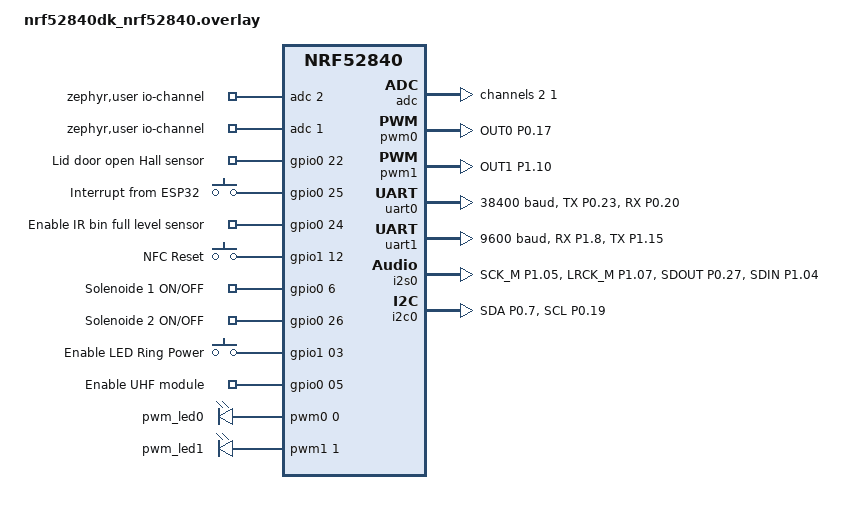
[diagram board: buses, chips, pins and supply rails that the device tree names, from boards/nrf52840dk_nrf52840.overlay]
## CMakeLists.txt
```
#
# Copyright (c) 2022 Nordic Semiconductor ASA
#
# SPDX-License-Identifier: LicenseRef-Nordic-5-Clause
#

cmake_minimum_required(VERSION 3.20.0)

include(../common/bootloader_version.cmake)

set(mcuboot_KCONFIG_ROOT ${CMAKE_CURRENT_SOURCE_DIR}/child_image/mcuboot/Kconfig.root)
set(hci_rpmsg_KCONFIG_ROOT ${CMAKE_CURRENT_SOURCE_DIR}/child_image/hci_rpmsg/Kconfig.root)

find_package(Zephyr REQUIRED HINTS $ENV{ZEPHYR_BASE})
project(sidewalk_template)

zephyr_include_directories(include)

target_sources(app PRIVATE
  src/main.c
  src/application_thread.c
  src/board_events.c
  src/sidewalk_callbacks.c
  src/u_adc_turn.c
  #src/u_spi_turn.c
  #src/u_app_timers.c
  #src/u_app_nfc.c
  src/u_app_turn.c
  src/u_buzzer_turn.c
  src/u_uart_turn.c
  src/u_led_turn.c
  src/u_i2c_turn.c
  src/u_esp32_turn.c
)
```

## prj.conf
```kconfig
#
# Copyright (c) 2022 Nordic Semiconductor ASA
#
# SPDX-License-Identifier: LicenseRef-Nordic-5-Clause
#

#Turn System
CONFIG_TURN_APP=y

#Turn UART
CONFIG_SERIAL=y
CONFIG_UART_ASYNC_API=y

# PWM for Servo
CONFIG_PWM=y

# ADC for Bin level and battery voltage
CONFIG_ADC=y

#I2S comm for addresable LED
CONFIG_I2S=y

#SPI comm for NFC
# CONFIG_SPI=y
# CONFIG_SPI_ASYNC=y

# Adding I2C for ESP32, EEPROM and RTC chip
CONFIG_I2C=y

# Sidewalk
CONFIG_SIDEWALK=y
# CONFIG_SIDEWALK_LINK_MASK_LORA=y
# CONFIG_NORDIC_QSPI_NOR=n

# Logs
CONFIG_SIDEWALK_LOG_LEVEL_INF=n
CONFIG_NVS_LOG_LEVEL_WRN=n
CONFIG_NVS_LOG_LEVEL_ERR=n
CONFIG_LOG_PRINTK=y

# Buttons and LEDs
CONFIG_GPIO=y
CONFIG_DK_LIBRARY=y

# Bluetooth
CONFIG_BT_DEVICE_NAME="Sid BLE template"

# Debug
CONFIG_RESET_ON_FATAL_ERROR=n

# Power Management
CONFIG_PM_DEVICE=y

# Enable RTT to replace UART
CONFIG_UART_CONSOLE=n
CONFIG_CONSOLE=y
CONFIG_RTT_CONSOLE=y
CONFIG_USE_SEGGER_RTT=y
```

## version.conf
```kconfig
CONFIG_MCUBOOT_IMGTOOL_SIGN_VERSION="2.5.3+0"
```

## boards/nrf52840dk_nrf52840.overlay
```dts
/*
 * Copyright (c) 2022 Nordic Semiconductor ASA
 *
 * SPDX-License-Identifier: LicenseRef-Nordic-5-Clause
 */

 
 &pinctrl {
    i2s0_default_alt: i2s0_default_alt {
		group1 {
			psels = <NRF_PSEL(I2S_SCK_M, 1, 05)>,
				<NRF_PSEL(I2S_LRCK_M, 1, 07)>,
				<NRF_PSEL(I2S_SDOUT, 0, 27)>,
				<NRF_PSEL(I2S_SDIN, 1, 04)>;
		};
	};

    spi1_default: spi1_default {
		group1 {
			psels = <NRF_PSEL(SPIM_SCK, 0, 13)>,
				<NRF_PSEL(SPIM_MOSI, 0, 29)>,
				<NRF_PSEL(SPIM_MISO, 0, 30)>;
		};
	};

	spi1_sleep: spi1_sleep {
		group1 {
			psels = <NRF_PSEL(SPIM_SCK, 0, 13)>,
				<NRF_PSEL(SPIM_MOSI, 0, 29)>,
				<NRF_PSEL(SPIM_MISO, 0, 30)>;
			low-power-enable;
		};
	};

    i2c0_default: i2c0_default {
		group1 {
			psels = <NRF_PSEL(TWIM_SDA, 0, 7)>,
				<NRF_PSEL(TWIM_SCL, 0, 19)>;
		};
	};

	i2c0_sleep: i2c0_sleep {
		group1 {
			psels = <NRF_PSEL(TWIM_SDA, 0, 7)>,
				<NRF_PSEL(TWIM_SCL, 0, 19)>;
			low-power-enable;
		};
	};

    uart0_default: uart0_default {
		group1 {
			psels = <NRF_PSEL(UART_TX, 0, 23)>;
		};

        group2 {
			psels = <NRF_PSEL(UART_RX, 0, 20)>;
			bias-pull-down;
		};
	};

	uart0_sleep: uart0_sleep {
		group1 {
			psels = <NRF_PSEL(UART_TX, 0, 23)>,
					<NRF_PSEL(UART_RX, 0, 20)>;
			low-power-enable;
		};
    
	};


    uart1_default: uart1_default {
		group1 {
			psels = <NRF_PSEL(UART_RX, 1, 8)>;
			bias-pull-up;
		};
		group2 {
			psels = <NRF_PSEL(UART_TX, 1, 15)>;
		};
	};

	uart1_sleep: uart1_sleep {
		group1 {
			psels = <NRF_PSEL(UART_RX, 1, 8)>,
				<NRF_PSEL(UART_TX, 1, 15)>;
			low-power-enable;
		};
	};

    pwm0_default: pwm0_default {
		group1 {
			psels = <NRF_PSEL(PWM_OUT0, 0, 17)>;
			nordic,invert;
		};
	};

	pwm0_sleep: pwm0_sleep {
		group1 {
			psels = <NRF_PSEL(PWM_OUT0, 0, 17)>;
			low-power-enable;
		};
	};

    pwm1_default: pwm1_default {
		group1 {
			psels = <NRF_PSEL(PWM_OUT1, 1, 10)>;
			nordic,invert;
		};
	};

	pwm1_sleep: pwm1_sleep {
		group1 {
			psels = <NRF_PSEL(PWM_OUT1, 1, 10)>;
			low-power-enable;
		};
	};
 };

 / {
    zephyr,user {
        io-channels = <&adc 2>, <&adc 1>;
    };
    
    gpiocustom_in {
        compatible = "gpio-keys";
       
        doorOPEN: door_OPEN {
            status = "okay";
            gpios = <&gpio0 22 (GPIO_ACTIVE_HIGH | GPIO_PULL_DOWN)>;
            label = "Lid door open Hall sensor";
        };

        // modification - IO attached to Pin 0.25 is assiged to esp_INT, 
        // esp32IO1: esp32_IO1 {
        //     status = "okay";
        //     gpios = <&gpio0 25 (GPIO_ACTIVE_HIGH | GPIO_PULL_DOWN)>;
        //     label = "ESP32 Input pin";
        // };

        // Pin 1.08 is in conflict with UART1_RX, ESP32_int moved to Pin ESP32_IO1
        esp32INT: esp32_INT {
            status = "okay";
            gpios = <&gpio0 25 (GPIO_ACTIVE_HIGH | GPIO_PULL_DOWN)>;
            label = "Interrupt from ESP32 ";
        };
        
    };

    gpiocustom_out {
        compatible = "gpio-keys";
       
        irsenEN: ir_sen_EN {
            status = "okay";
            gpios = <&gpio0 24 GPIO_ACTIVE_HIGH>;
            label = "Enable IR bin full level sensor";
        };

        nfcRST: nfc_RST {
            status = "okay";
            gpios = <&gpio1 12 GPIO_ACTIVE_HIGH>;
            label = "NFC Reset";
        };


        sol1EN: sol1_EN {
            status = "okay";
            gpios = <&gpio0 6 GPIO_ACTIVE_HIGH>;
            label = "Solenoide 1 ON/OFF";
        };

        sol2EN: sol2_EN {
            status = "okay";
            gpios = <&gpio0 26 GPIO_ACTIVE_HIGH>;
            label = "Solenoide 2 ON/OFF";
        };

        ledEN: led_EN {
            status = "okay";
            gpios = <&gpio1 03 GPIO_ACTIVE_HIGH>;
            label = "Enable LED Ring Power";
        };

        uhfEN: uhf_EN {
            status = "okay";
            gpios = <&gpio0 05 GPIO_ACTIVE_HIGH>;
            label = "Enable UHF module";
        };
        
        
    };

    pwmleds {
		compatible = "pwm-leds";
		pwm_led0: pwm_led_0 {
			pwms = <&pwm0 0 PWM_MSEC(20) PWM_POLARITY_NORMAL>;
		};

        pwm_led1: pwm_led_1 {
			pwms = <&pwm1 1 PWM_HZ(2400) PWM_POLARITY_NORMAL>;
		};
	};

    aliases {
        dooropen    = &doorOPEN;
        uhfen       = &uhfEN;
        //b1en        = &b1EN;
        sol1en      = &sol1EN;
        sol2en      = &sol2EN;
        leden       = &ledEN;
        irsenen     = &irsenEN;
        pwm-led0    = &pwm_led0;
        pwm-led1    = &pwm_led1;

    };

};



&mx25r64 {
	status = "disabled";
};

&adc {
	#address-cells = <1>;
	#size-cells = <0>;

	channel@2 {
		reg = <2>;
		zephyr,gain = "ADC_GAIN_1_6";
		zephyr,reference = "ADC_REF_INTERNAL";
		zephyr,acquisition-time = <ADC_ACQ_TIME_DEFAULT>;
		zephyr,input-positive = <NRF_SAADC_AIN1>; /* P0.03 */
		zephyr,resolution = <10>;
	};

	channel@1 {
		reg = <1>;
		zephyr,gain = "ADC_GAIN_1_6";
		zephyr,reference = "ADC_REF_INTERNAL";
		zephyr,acquisition-time = <ADC_ACQ_TIME_DEFAULT>;
		zephyr,input-positive = <NRF_SAADC_AIN2>; /*p0.04 */
		zephyr,resolution = <10>;
	};

};

&pwm0 {
	status = "okay";
	pinctrl-0 = <&pwm0_default>;
	pinctrl-1 = <&pwm0_sleep>;
	pinctrl-names = "default", "sleep";
};

&pwm1 {
	status = "okay";
	pinctrl-0 = <&pwm1_default>;
	pinctrl-1 = <&pwm1_sleep>;
	pinctrl-names = "default", "sleep";
};


&uart0 {
	compatible = "nordic,nrf-uarte";
	status = "okay";
	current-speed = <38400>;
	pinctrl-0 = <&uart0_default>;
	pinctrl-1 = <&uart0_sleep>;
	pinctrl-names = "default", "sleep";
};

&uart1 {
	compatible = "nordic,nrf-uarte";
	status = "okay";
	current-speed = <9600>;
	pinctrl-0 = <&uart1_default>;
	pinctrl-1 = <&uart1_sleep>;
	pinctrl-names = "default", "sleep";
};

i2s_tx: &i2s0 {
	status = "okay";
	pinctrl-0 = <&i2s0_default_alt>;
	pinctrl-names = "default";
};

&led0 {
    status = "disabled";
};

&led1 {
    status = "disabled";
};

&button2 {
	status = "disabled";
};

&button3 {
	status = "disabled";
};

// my_spi_master: &spi1 {
// 	compatible = "nordic,nrf-spim";
// 	/* SPI0 cannot be used together with i2c0. Same Device ID 0x40003000*/
// 	status = "disabled";
// 	pinctrl-0 = <&spi1_default>;
// 	pinctrl-1 = <&spi1_sleep>;
    
// 	pinctrl-names = "default", "sleep";
//     cs-gpios = <&gpio0 31 GPIO_ACTIVE_LOW>;
// };

&spi0 {
	status = "disabled";
};

arduino_spi: &spi3 {
	status = "disabled";
	cs-gpios = <&arduino_header 16 GPIO_ACTIVE_LOW>; /* D10 */
	pinctrl-0 = <&spi3_default>;
	pinctrl-1 = <&spi3_sleep>;
	pinctrl-names = "default", "sleep";
};

&i2c0 {
	compatible = "nordic,nrf-twi";
	status = "okay";
	pinctrl-0 = <&i2c0_default>;
	pinctrl-1 = <&i2c0_sleep>;
	pinctrl-names = "default", "sleep";
};

// &qspi {
// 	status = "disabled";
// 	pinctrl-0 = <&qspi_default>;
// 	pinctrl-1 = <&qspi_sleep>;
// 	pinctrl-names = "default", "sleep";
// 	mx25r64: mx25r6435f@0 {
// 		compatible = "nordic,qspi-nor";
// 		reg = <0>;
// 		/* MX25R64 supports only pp and pp4io */
// 		writeoc = "pp4io";
// 		/* MX25R64 supports all readoc options */
// 		readoc = "read4io";
// 		sck-frequency = <8000000>;
// 		jedec-id = [c2 28 17];
// 		sfdp-bfp = [
// 			e5 20 f1 ff  ff ff ff 03  44 eb 08 6b  08 3b 04 bb
// 			ee ff ff ff  ff ff 00 ff  ff ff 00 ff  0c 20 0f 52
// 			10 d8 00 ff  23 72 f5 00  82 ed 04 cc  44 83 68 44
// 			30 b0 30 b0  f7 c4 d5 5c  00 be 29 ff  f0 d0 ff ff
// 		];
// 		size = <67108864>;
// 		has-dpd;
// 		t-enter-dpd = <10000>;
// 		t-exit-dpd = <35000>;
// 	};
// };
```

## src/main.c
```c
/*
 * Copyright (c) 2023 Nordic Semiconductor ASA
 *
 * SPDX-License-Identifier: LicenseRef-Nordic-5-Clause
 */

#include <sid_api.h>
#include <sid_error.h>
#include <sid_pal_assert_ifc.h>
#include <app_ble_config.h>

#include <stdbool.h>
#include <zephyr/kernel.h>
#include <zephyr/logging/log.h>
#include <zephyr/settings/settings.h>

#include <settings_utils.h>
#include <dk_buttons_and_leds.h>
#include <sidewalk_version.h>
#include <nordic_dfu.h>
#if defined(CONFIG_BOOTLOADER_MCUBOOT)
#include <zephyr/dfu/mcuboot.h>
#endif
#if defined(CONFIG_GPIO)
#include <state_notifier_gpio_backend.h>
#endif
#if defined(CONFIG_LOG)
#include <state_notifier_log_backend.h>
#endif

#include <pal_init.h>
#include <buttons.h>
#include <application_thread.h>
#include <sidewalk_callbacks.h>

#if defined(CONFIG_NORDIC_QSPI_NOR)
#include <zephyr/device.h>
#include <zephyr/pm/device.h>

#define EXTERNAL_FLASH DT_CHOSEN(nordic_pm_ext_flash)
#endif

#include <zephyr/drivers/uart.h>
#include <u_app_turn.h>
// #include <u_turn_config.h>
// #include <u_uart_turn.h>
// #include <u_adc_turn.h>

LOG_MODULE_REGISTER(main, CONFIG_SIDEWALK_LOG_LEVEL);

static app_ctx_t app_context;

static void button_handler(uint32_t event)
{
	app_event_send((app_event_t)event);
}

static sid_error_t app_buttons_init(btn_handler_t handler)
{
	button_set_action_long_press(DK_BTN1, handler, BUTTON_EVENT_FACTORY_RESET);
	button_set_action(DK_BTN2, handler, BUTTON_EVENT_CONNECTION_REQUEST);
	button_set_action(DK_BTN3, handler, BUTTON_EVENT_SEND_HELLO);
	button_set_action_short_press(DK_BTN4, handler, BUTTON_EVENT_SET_BATTERY_LEVEL);
#if defined(CONFIG_SIDEWALK_DFU_SERVICE_BLE)
	button_set_action_long_press(DK_BTN4, handler, BUTTON_EVENT_NORDIC_DFU);
#endif

	return buttons_init() ? SID_ERROR_GENERIC : SID_ERROR_NONE;
}

static void app_setup(void)
{
	if (app_buttons_init(button_handler)) {
		LOG_ERR("Failed to initialze buttons.");
		SID_PAL_ASSERT(false);
	}

	if (dk_leds_init()) {
		LOG_ERR("Failed to initialze LEDs.");
		SID_PAL_ASSERT(false);
	}
#if defined(CONFIG_GPIO)
	state_watch_init_gpio(&global_state_notifier);
#endif
#if defined(CONFIG_LOG)
	state_watch_init_log(&global_state_notifier);
#endif

	if (sidewalk_callbacks_set(&app_context, &app_context.event_callbacks)) {
		LOG_ERR("Failed to set sidewalk callbacks");
		SID_PAL_ASSERT(false);
	}

	app_context.config = (struct sid_config){
		.link_mask = BUILT_IN_LM,
		.time_sync_periodicity_seconds = 7200,
		.callbacks = &app_context.event_callbacks,
		.link_config = app_get_ble_config(),
		.sub_ghz_link_config = NULL,
        //.sub_ghz_link_config = app_get_sub_ghz_config(),
	};

#if defined(CONFIG_BOOTLOADER_MCUBOOT)
	if (!boot_is_img_confirmed()) {
		int ret = boot_write_img_confirmed();

		if (ret) {
			LOG_ERR("Couldn't confirm image: %d", ret);
		} else {
			LOG_INF("Marked image as OK");
		}
	}
#endif

#if defined(CONFIG_NORDIC_QSPI_NOR)
	const struct device *const qspi_dev = DEVICE_DT_GET(EXTERNAL_FLASH);

	if (device_is_ready(qspi_dev)) {
		pm_device_action_run(qspi_dev, PM_DEVICE_ACTION_SUSPEND);
	}
#endif
}

int main(void)
{
	//PRINT_SIDEWALK_VERSION();

	switch (application_to_start()) {
	case SIDEWALK_APPLICATION: {
		app_setup();
		if (app_thread_init(&app_context, get_data_packket_pointer())){
			LOG_ERR("Failed to start Sidewalk thread");
		}
		break;
	};
#if defined(CONFIG_SIDEWALK_DFU_SERVICE_BLE)
	case DFU_APPLICATION: {
		const int ret = nordic_dfu_ble_start();
		LOG_INF("DFU service started, return value %d", ret);
		break;
	}
#endif
	default:
		LOG_ERR("Unknown application to start.");
	}

	u_app_turn_init();
    
	return 0;
}
```

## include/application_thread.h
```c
/*
 * Copyright (c) 2023 Nordic Semiconductor ASA
 *
 * SPDX-License-Identifier: LicenseRef-Nordic-5-Clause
 */

#ifndef APPLICATION_THREAD_H
#define APPLICATION_THREAD_H

#include <sid_api.h>
#include <u_app_turn.h>

#ifdef CONFIG_SIDEWALK_LINK_MASK_BLE
#define BUILT_IN_LM (uint32_t)(SID_LINK_TYPE_1)
#elif CONFIG_SIDEWALK_LINK_MASK_FSK
#define BUILT_IN_LM (uint32_t)(SID_LINK_TYPE_2)
#elif CONFIG_SIDEWALK_LINK_MASK_LORA
#define BUILT_IN_LM (uint32_t)(SID_LINK_TYPE_3)
#else
#error "Not defined Sidewalk link mask!!"
#endif

typedef struct application_context {
	struct sid_event_callbacks event_callbacks;
	struct sid_config config;
	struct sid_handle *handle;
	bool connection_request;
} app_ctx_t;

typedef enum application_events {
	SIDEWALK_EVENT,

	BUTTON_EVENT_SEND_HELLO,
	BUTTON_EVENT_SET_BATTERY_LEVEL,
	BUTTON_EVENT_FACTORY_RESET,
	BUTTON_EVENT_CONNECTION_REQUEST,
#if defined(CONFIG_SIDEWALK_DFU)
	BUTTON_EVENT_NORDIC_DFU,
#endif
} app_event_t;

/**
 * @brief Send Event to application thread
 *
 * @param event event to send
 */
void app_event_send(app_event_t event);

/**
 * @brief Initialize and start application thread
 *
 * @param ctx application context
 *
 * @return SID_ERROR_NULL_POINTER in case of invalid ctx
 */

#if defined(CONFIG_TURN_APP)
sid_error_t app_thread_init(app_ctx_t *ctx, turn_data_packet *data_packet);
#else
sid_error_t app_thread_init(app_ctx_t *ctx);
#endif //#if defined(CONFIG_TURN_APP)

#endif /* APPLICATION_THREAD_H */
```

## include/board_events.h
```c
/*
 * Copyright (c) 2023 Nordic Semiconductor ASA
 *
 * SPDX-License-Identifier: LicenseRef-Nordic-5-Clause
 */

#ifndef BOARD_EVENTS_H
#define BOARD_EVENTS_H

#include <application_thread.h>
#include <u_app_turn.h>

/**
 * @brief Application handler for sending hello message
 *
 * @param application_ctx
 */
#if defined(CONFIG_TURN_APP)
void button_event_send_hello(app_ctx_t *application_ctx,  turn_data_packet *data);
#else
void button_event_send_hello(app_ctx_t *application_ctx);
#endif //#if defined(CONFIG_TURN_APP)

/**
 * @brief Application handler for sending battery level
 *
 * @param application_ctx
 */
void button_event_set_battery(app_ctx_t *application_ctx);

/**
 * @brief Application handler for entering in DFU mode
 *
 * @param application_ctx
 */
void button_event_DFU(app_ctx_t *application_ctx);

/**
 * @brief Applicaiton handler for requesting factory reset
 *
 * @param application_ctx
 */
void button_event_factory_reset(app_ctx_t *application_ctx);

/**
 * @brief Application handler for toggling connection request state
 *
 * @param application_ctx
 */
void button_event_connection_request(app_ctx_t *application_ctx);

#endif /* BOARD_EVENTS_H */
```

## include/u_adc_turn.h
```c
#ifndef U_ADC_TURN_H
#define U_ADC_TURN_H

#include <stdint.h>

int u_adc_init(void);
int32_t u_adc_bin_level(void);
int32_t u_adc_batt_volt(void);

#endif // U_ADC_TURN_H
```

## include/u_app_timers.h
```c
#ifndef U_APP_TIMERS_H
#define U_APP_TIMERS_H


#if defined(CONFIG_TURN_APP)


#include <zephyr/kernel.h>



#endif // CONFIG_TURN_APP

#endif //U_APP_TIMERS_H
```

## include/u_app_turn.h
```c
#ifndef U_APP_TURN_H
#define U_APP_TURN_H

#define BATT_LOW_LEVEL_V    1780    //5.6     //Battery voltage too low to deploy
#define BATT_25P_V          1850    //5.8     //Low battery in Volts   
#define BUZZER_PIN_2        25      //Buzzer pin
#define BIN_FULL_IN         1160    //10      //Bin full thresold in inches
#define BIN_FULL_75P_IN     1000    //15      //Bin full thresold in inches
#define FREQ_IN_US          425     //pwm frequency for buzzer
#define PWM_DUTY            90      //pwm duty for buzzer
#define ADC_TO_CM(x)      (2100/x) - 3.21  //(183 - x)/3.59
#define ADC_TO_VOLT(x)    (x/2.2)-2
#define BIN_ID            "T3JMMV"
#define EN_5V               21
#define SOL_1               15
#define SOL_2               26
#define IR_SEN_EN           17

#define LID_OPEN_PIN        22
#define SERVO_PIN           40
#define PIN_IN              14
#define PROXIMITY           19

#define RECEIVE_BUFF_SIZE   256
//#define RECEIVE_TIMEOUT     2000

typedef struct turn_data{
     uint8_t time[4];
    uint8_t bin_id[6];
    uint8_t event_id;
    char data[13];
    uint8_t data_id[3];
    uint8_t header[2];
    uint8_t crc[2];
    uint8_t footer;
}turn_data_packet;

// typedef struct turn_data{
//     uint8_t time[4];
//     uint8_t bin_id[6];
//     uint8_t event_id;
//     char data[13];
// }turn_data_packet;

//Different events stored in packets
typedef enum
{
    NFC_EVE = 1,
    UHF_EVE,
    LID_OPEN,
    LID_CLOSE,
    BIN_75P,
    BIN_FULL,
    BATT_25P,
    BATT_LOW,
    LID_JAM,
    SYS_CHECK,
    SYS_OFF,
    SID_MSG_EVE
}events;



/**
 * @brief Set time period and run timer for capability notification.
 *
 * @param delay expected delay.
 */
void system_timer_set_and_run(k_timeout_t delay); //local

/**
 * @brief System timer stop.
 *
 */
void system_timer_stop(void);

void turn_app_thread_init(void);// local

void init_data_packet(void);    // local

void init_system_data(void);    // local

void u_app_turn_init(void);     // global

turn_data_packet* get_data_packket_pointer(void); //local

#endif //U_APP_TURN_H
```

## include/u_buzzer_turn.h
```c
#ifndef U_BUZZER_TURN_H
#define U_BUZZER_TURN_H

#define COUNT_ONE       1
#define COUNT_TWO       2
#define COUNT_THREE     3
#define COUNT_FOUR      4
#define COUNT_FIVE      5
#define COUNT_SIX       6
#define COUNT_SEVEN     7
#define COUNT_EIGHT     8
#define COUNT_NINE      9
#define COUNT_TEN       10

#define MS_ONE_HUNDRED     100
#define MS_TWO_HUNDRED     200
#define MS_THREE_HUNDRED   300
#define MS_FOUR_HUNDRED    400
#define MS_FIVE_HUNDRED    500
#define MS_SIX_HUNDRED     600
#define MS_SEVEN_HUNDRED   700
#define MS_EIGHT_HUNDRED   900
#define MS_NINE_HUNDRED    900
#define MS_THOUSAND        1000



void u_init_buzzer();

void buzzer_on_pwm();

void buzzer_off_pwm();

void buzzer_beep(uint8_t count, uint16_t interval, uint8_t duty);



#endif //U_BUZZER_TURN_H
```

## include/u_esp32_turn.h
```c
#ifndef U_ESP32_TURN_H
#define U_ESP32_TURN_H

#include <zephyr/zephyr.h>

uint8_t init_esp32(void);
uint8_t time_request_esp32(uint8_t *aws_time);



#endif //U_ESP32_TURN_H
```

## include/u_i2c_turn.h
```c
#ifndef U_I2C_TURN_H
#define U_I2C_TURN_H

#include <stdio.h>
#include <zephyr/zephyr.h>
#include <zephyr/device.h>
#include <zephyr/drivers/i2c.h>

uint8_t     i2c_ready(void);
uint8_t     i2c_scan(void);
bool        check_i2c_address(uint8_t addr);
uint8_t     u_i2c_write_read(uint16_t addr, uint8_t *tx_data, uint8_t tx_data_len, uint8_t *rx_data, uint8_t rx_data_len);
uint8_t     u_i2c_write(uint16_t addr, uint8_t *tx_data, uint8_t tx_data_len);
uint8_t     u_i2c_read(uint16_t addr, uint8_t *rx_data, uint8_t rx_data_len);

#endif //U_I2C_TURN_H
```

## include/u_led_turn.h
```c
#ifndef U_LED_TURN_H
#define U_LED_TURN_H

#include <stdint.h>
#include <stdbool.h>
//                                          36        35        34        33        32        31        30        29        28        27        26        25        24       23        22         21        20        19        18        17        16        15        14        13        12        11        10        9         8         7         6         5         4         3         2         1                               
uint8_t blank_data_set[180][4] = {      {0,0,0,0},{0,0,0,0},{0,0,0,0},{0,0,0,0},{0,0,0,0},{0,0,0,0},{0,0,0,0},{0,0,0,0},{0,0,0,0},{0,0,0,0},{0,0,0,0},{0,0,0,0},{0,0,0,0},{0,0,0,0},{0,0,0,0},{0,0,0,0},{0,0,0,0},{0,0,0,0},{0,0,0,0},{0,0,0,0},{0,0,0,0},{0,0,0,0},{0,0,0,0},{0,0,0,0},{0,0,0,0},{0,0,0,0},{0,0,0,0},{0,0,0,0},{0,0,0,0},{0,0,0,0},{0,0,0,0},{0,0,0,0},{0,0,0,0},{0,0,0,0},{0,0,0,0},{0,0,0,0}, \
                                        {0,0,0,0},{0,0,0,0},{0,0,0,0},{0,0,0,0},{0,0,0,0},{0,0,0,0},{0,0,0,0},{0,0,0,0},{0,0,0,0},{0,0,0,0},{0,0,0,0},{0,0,0,0},{0,0,0,0},{0,0,0,0},{0,0,0,0},{0,0,0,0},{0,0,0,0},{0,0,0,0},{0,0,0,0},{0,0,0,0},{0,0,0,0},{0,0,0,0},{0,0,0,0},{0,0,0,0},{0,0,0,0},{0,0,0,0},{0,0,0,0},{0,0,0,0},{0,0,0,0},{0,0,0,0},{0,0,0,0},{0,0,0,0},{0,0,0,0},{0,0,0,0},{0,0,0,0},{0,0,0,0}, \
                                        {0,0,0,0},{0,0,0,0},{0,0,0,0},{0,0,0,0},{0,0,0,0},{0,0,0,0},{0,0,0,0},{0,0,0,0},{0,0,0,0},{0,0,0,0},{0,0,0,0},{0,0,0,0},{0,0,0,0},{0,0,0,0},{0,0,0,0},{0,0,0,0},{0,0,0,0},{0,0,0,0},{0,0,0,0},{0,0,0,0},{0,0,0,0},{0,0,0,0},{0,0,0,0},{0,0,0,0},{0,0,0,0},{0,0,0,0},{0,0,0,0},{0,0,0,0},{0,0,0,0},{0,0,0,0},{0,0,0,0},{0,0,0,0},{0,0,0,0},{0,0,0,0},{0,0,0,0},{0,0,0,0}, \
                                        {0,0,0,0},{0,0,0,0},{0,0,0,0},{0,0,0,0},{0,0,0,0},{0,0,0,0},{0,0,0,0},{0,0,0,0},{0,0,0,0},{0,0,0,0},{0,0,0,0},{0,0,0,0},{0,0,0,0},{0,0,0,0},{0,0,0,0},{0,0,0,0},{0,0,0,0},{0,0,0,0},{0,0,0,0},{0,0,0,0},{0,0,0,0},{0,0,0,0},{0,0,0,0},{0,0,0,0},{0,0,0,0},{0,0,0,0},{0,0,0,0},{0,0,0,0},{0,0,0,0},{0,0,0,0},{0,0,0,0},{0,0,0,0},{0,0,0,0},{0,0,0,0},{0,0,0,0},{0,0,0,0}, \
                                        {0,0,0,0},{0,0,0,0},{0,0,0,0},{0,0,0,0},{0,0,0,0},{0,0,0,0},{0,0,0,0},{0,0,0,0},{0,0,0,0},{0,0,0,0},{0,0,0,0},{0,0,0,0},{0,0,0,0},{0,0,0,0},{0,0,0,0},{0,0,0,0},{0,0,0,0},{0,0,0,0},{0,0,0,0},{0,0,0,0},{0,0,0,0},{0,0,0,0},{0,0,0,0},{0,0,0,0},{0,0,0,0},{0,0,0,0},{0,0,0,0},{0,0,0,0},{0,0,0,0},{0,0,0,0},{0,0,0,0},{0,0,0,0},{0,0,0,0},{0,0,0,0},{0,0,0,0},{0,0,0,0}};

//                                          36        35        34        33        32        31        30        29        28        27        26        25        24       23        22         21        20        19        18        17        16        15        14        13        12        11        10        9         8         7         6         5         4         3         2         1         
uint8_t thanks_data_set[180][4] = {     {0,0,0,0},{0,25,3,0},{0,25,3,0},{0,25,3,0},{0,0,0,0},{0,25,3,0},{0,0,0,0},{0,25,3,0},{0,0,0,0},{0,25,3,0},{0,0,0,0},{0,25,3,0},{0,0,0,0},{0,0,0,0},{0,25,3,0},{0,0,0,0},{0,0,0,0},{0,25,3,0},{0,0,0,0},{0,25,3,0},{0,0,0,0},{0,25,3,0},{0,25,3,0},{0,25,3,0},{0,0,0,0},{0,0,0,0},{0,0,0,0},{0,0,0,0},{0,0,0,0},{0,0,0,0},{0,0,0,0},{0,0,0,0},{0,0,0,0},{0,0,0,0},{0,0,0,0},{0,0,0,0}, \
                                        {0,0,0,0},{0,0,0,0},{0,0,0,0},{0,25,3,0},{0,0,0,0},{0,25,3,0},{0,0,0,0},{0,25,3,0},{0,0,0,0},{0,25,3,0},{0,0,0,0},{0,25,3,0},{0,0,0,0},{0,25,3,0},{0,0,0,0},{0,25,3,0},{0,0,0,0},{0,25,3,0},{0,0,0,0},{0,25,3,0},{0,0,0,0},{0,0,0,0},{0,25,3,0},{0,0,0,0},{0,0,0,0},{0,0,0,0},{0,0,0,0},{0,0,0,0},{0,0,0,0},{0,0,0,0},{0,0,0,0},{0,0,0,0},{0,0,0,0},{0,0,0,0},{0,0,0,0},{0,0,0,0}, \
                                        {0,0,0,0},{0,25,3,0},{0,25,3,0},{0,25,3,0},{0,0,0,0},{0,0,0,0},{0,25,3,0},{0,25,3,0},{0,0,0,0},{0,25,3,0},{0,25,3,0},{0,25,3,0},{0,0,0,0},{0,25,3,0},{0,0,0,0},{0,25,3,0},{0,0,0,0},{0,25,3,0},{0,25,3,0},{0,25,3,0},{0,0,0,0},{0,0,0,0},{0,25,3,0},{0,0,0,0},{0,0,0,0},{0,0,0,0},{0,0,0,0},{0,0,0,0},{0,0,0,0},{0,0,0,0},{0,0,0,0},{0,0,0,0},{0,0,0,0},{0,0,0,0},{0,0,0,0},{0,0,0,0}, \
                                        {0,0,0,0},{0,25,3,0},{0,0,0,0},{0,0,0,0},{0,0,0,0},{0,25,3,0},{0,0,0,0},{0,25,3,0},{0,0,0,0},{0,25,3,0},{0,25,3,0},{0,25,3,0},{0,0,0,0},{0,25,3,0},{0,25,3,0},{0,25,3,0},{0,0,0,0},{0,25,3,0},{0,0,0,0},{0,25,3,0},{0,0,0,0},{0,0,0,0},{0,25,3,0},{0,0,0,0},{0,0,0,0},{0,0,0,0},{0,0,0,0},{0,0,0,0},{0,0,0,0},{0,0,0,0},{0,0,0,0},{0,0,0,0},{0,0,0,0},{0,0,0,0},{0,0,0,0},{0,0,0,0}, \
                                        {0,0,0,0},{0,25,3,0},{0,25,3,0},{0,25,3,0},{0,0,0,0},{0,25,3,0},{0,0,0,0},{0,25,3,0},{0,0,0,0},{0,25,3,0},{0,0,0,0},{0,25,3,0},{0,0,0,0},{0,25,3,0},{0,0,0,0},{0,25,3,0},{0,0,0,0},{0,25,3,0},{0,0,0,0},{0,25,3,0},{0,0,0,0},{0,0,0,0},{0,25,3,0},{0,0,0,0},{0,0,0,0},{0,0,0,0},{0,0,0,0},{0,0,0,0},{0,0,0,0},{0,0,0,0},{0,0,0,0},{0,0,0,0},{0,0,0,0},{0,0,0,0},{0,0,0,0},{0,0,0,0}};


//                                          36        35        34        33        32        31        30        29        28        27        26        25        24       23        22         21        20        19        18        17        16        15        14        13        12        11        10        9         8         7         6         5         4         3         2         1         
uint8_t lid_jam_data_set[180][4] = {    {0,0,0,0},{0,0,0,0},{0,0,0,0},{0,0,0,0},{0,0,0,0},{0,0,0,0},{0,0,0,0},{0,0,0,0},{0,0,0,0},{0,0,0,0},{0,0,0,0},{0,0,0,0},{0,0,0,0},{0,0,0,0},{0,0,0,0},{0,0,0,0},{0,0,0,0},{0,0,0,0},{0,0,0,0},{0,0,0,0},{0,0,0,0},{0,0,0,0},{0,0,0,0},{0,0,0,0},{0,0,0,0},{0,0,0,0},{0,0,0,0},{25,0,0,0},{0,0,0,0},{0,0,0,0},{25,0,0,0},{0,0,0,0},{0,0,0,0},{25,0,0,0},{0,0,0,0},{25,0,0,0}, \
                                        {0,0,0,0},{0,0,0,0},{0,0,0,0},{0,0,0,0},{0,0,0,0},{0,0,0,0},{0,0,0,0},{0,0,0,0},{0,0,0,0},{0,0,0,0},{0,0,0,0},{0,0,0,0},{0,0,0,0},{0,0,0,0},{0,0,0,0},{0,0,0,0},{0,0,0,0},{0,0,0,0},{0,0,0,0},{0,0,0,0},{0,0,0,0},{0,0,0,0},{0,0,0,0},{0,0,0,0},{0,0,0,0},{0,0,0,0},{0,0,0,0},{25,0,0,0},{0,0,0,0},{25,0,0,0},{0,0,0,0},{25,0,0,0},{0,0,0,0},{25,0,0,0},{25,0,0,0},{25,0,0,0}, \
                                        {0,0,0,0},{0,0,0,0},{0,0,0,0},{0,0,0,0},{0,0,0,0},{0,0,0,0},{0,0,0,0},{0,0,0,0},{0,0,0,0},{0,0,0,0},{0,0,0,0},{0,0,0,0},{0,0,0,0},{0,0,0,0},{0,0,0,0},{0,0,0,0},{0,0,0,0},{0,0,0,0},{0,0,0,0},{0,0,0,0},{0,0,0,0},{0,0,0,0},{0,0,0,0},{0,0,0,0},{0,0,0,0},{0,0,0,0},{0,0,0,0},{25,0,0,0},{0,0,0,0},{25,0,0,0},{0,0,0,0},{25,0,0,0},{0,0,0,0},{25,0,0,0},{0,0,0,0},{25,0,0,0}, \
                                        {0,0,0,0},{0,0,0,0},{0,0,0,0},{0,0,0,0},{0,0,0,0},{0,0,0,0},{0,0,0,0},{0,0,0,0},{0,0,0,0},{0,0,0,0},{0,0,0,0},{0,0,0,0},{0,0,0,0},{0,0,0,0},{0,0,0,0},{0,0,0,0},{0,0,0,0},{0,0,0,0},{0,0,0,0},{0,0,0,0},{0,0,0,0},{0,0,0,0},{0,0,0,0},{0,0,0,0},{0,0,0,0},{25,0,0,0},{0,0,0,0},{25,0,0,0},{0,0,0,0},{25,0,0,0},{25,0,0,0},{25,0,0,0},{0,0,0,0},{25,0,0,0},{0,0,0,0},{25,0,0,0}, \
                                        {0,0,0,0},{0,0,0,0},{0,0,0,0},{0,0,0,0},{0,0,0,0},{0,0,0,0},{0,0,0,0},{0,0,0,0},{0,0,0,0},{0,0,0,0},{0,0,0,0},{0,0,0,0},{0,0,0,0},{0,0,0,0},{0,0,0,0},{0,0,0,0},{0,0,0,0},{0,0,0,0},{0,0,0,0},{0,0,0,0},{0,0,0,0},{0,0,0,0},{0,0,0,0},{0,0,0,0},{0,0,0,0},{0,0,0,0},{25,0,0,0},{0,0,0,0},{0,0,0,0},{25,0,0,0},{0,0,0,0},{25,0,0,0},{0,0,0,0},{25,0,0,0},{0,0,0,0},{25,0,0,0}};


int u_led_init(void);
void position_on_range(uint8_t pos1, uint8_t pos2, uint8_t r, uint8_t g, uint8_t b, uint8_t w, bool keep_state);
void position_on(uint16_t pos,uint8_t r, uint8_t g, uint8_t b, uint8_t w, bool keep_state);
void all_on(uint8_t r, uint8_t g, uint8_t b, uint8_t w);
void color_wipe(uint8_t r, uint8_t g, uint8_t b, uint8_t w, uint32_t ms_delay);
void display_pepsi(void);
void display_thanks(void);

#endif // U_LED_TURN_H
```

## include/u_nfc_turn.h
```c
#include <zephyr/kernel.h>
```

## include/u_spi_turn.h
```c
void u_spi_init(void);
```

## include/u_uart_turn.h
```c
#ifndef U_UART_TURN_H
#define U_UART_TURN_H

#include <zephyr/kernel.h>

#define RECEIVE_BUFF_SIZE   256
#define TRANSMIT_BUFF_SIZE  256
#define RECEIVE_TIMEOUT     2000     // U_SEC
#define PACKAGE_TIMEOUT     5       // M_SEC


typedef int err_return;

typedef enum
{
    Uart_0 = 0,
    Uart_1
}Uart_num;

err_return u_uart_init();
err_return u_uart_send(const struct device *dev, uint8_t *tx_buffer, size_t buff_len);
void u_uart_send_data(uint8_t, uint8_t *tx_buffer, size_t buff_len);
err_return u_uart0_get_rx_buf(uint8_t * data_buff, size_t data_len);
err_return u_uart1_get_rx_buf(uint8_t * data_buff, size_t data_len);
err_return get_module_info();
err_return uhf_single_poll();
err_return ufh_power_set(uint8_t pow);


#endif //U_UART_TURN_H
```
